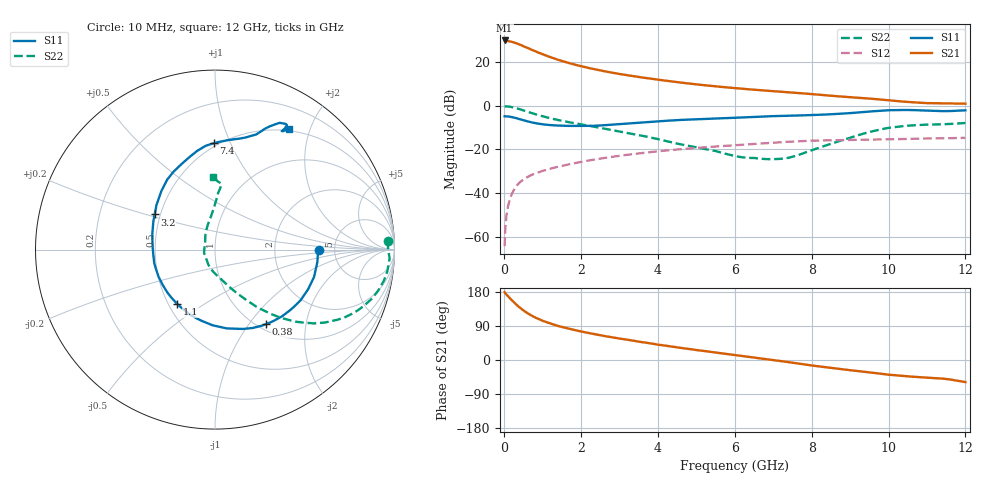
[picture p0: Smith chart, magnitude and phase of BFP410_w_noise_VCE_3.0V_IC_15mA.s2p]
! Infineon Technologies  Discrete & RF Semiconductors
! BFP410
! VCE =  3.0 V,  IC =  15 mA
! Common Emitter S-Parameters:  Nov 2015
# GHz  S  MA  R  50
!  f  S11  S21  S12  S22
! GHz  MAG  ANG  MAG  ANG  MAG  ANG  MAG  ANG
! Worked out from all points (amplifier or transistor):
!   243 points, 10 MHz to 12 GHz, reference 50 ohm
!   highest |S21| = 30.0 dB at 10 MHz (marker M1)
!   |S21| within 3 dB of that: start of sweep to 548.4 MHz
!   unconditionally stable (mu >= 1): 2.091 GHz to end of sweep
!   at 240 MHz: K = 0.22, MSG = 34.1 dB, |S12| = -38.9 dB
!   at 1.84 GHz: K = 0.94, MSG = 22.6 dB, |S12| = -26.3 dB
!   at 12 GHz: K = 1.03, MAG = 6.8 dB, |S12| = -14.7 dB
!   lowest NFmin = 1.50 dB at 900 MHz
!   S11 on the Smith chart (normalised r, x): 10 MHz: 3.73, +0.00; 380 MHz: 1.09, -1.21; 1.1 GHz: 0.55, -0.39; 3.2 GHz: 0.47, +0.21; 7.4 GHz: 0.47, +0.87; 12 GHz: 0.47, +1.69
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0.01  0.5769 0.0  31.77 179.0  0.0006 133.6  0.9634 3.0
0.02  0.574 -2.1  31.55 177.0  0.0011 82.1  0.9649 -0.1
0.05  0.5745 -7.0  31.13 173.5  0.0026 80.2  0.9742 -2.8
0.1  0.5725 -15.5  30.84 168.3  0.005 82.1  0.9689 -6.9
0.195  0.5548 -29.8  29.57 157.9  0.0094 77.8  0.9399 -13.6
0.3  0.5267 -45.0  27.67 147.4  0.0137 72.8  0.892 -20.1
0.38  0.503 -55.6  26.01 140.3  0.0166 69.4  0.8502 -24.4
0.5  0.4689 -70.5  23.5 130.7  0.0205 65.5  0.7864 -29.8
0.6  0.444 -81.5  21.49 123.7  0.0232 63.0  0.7359 -33.5
0.7  0.4217 -91.9  19.68 117.8  0.0257 61.1  0.6896 -36.6
0.9  0.3901 -109.8  16.59 107.7  0.0301 58.6  0.6106 -41.3
1.1  0.3687 -125.0  14.14 99.6  0.0341 57.1  0.5464 -44.9
1.48  0.3504 -147.9  10.87 87.7  0.0415 55.2  0.4572 -50.0
2.02  0.3452 -172.3  8.061 74.9  0.0521 52.7  0.3733 -55.2
2.6  0.3595 166.4  6.248 63.4  0.0635 49.0  0.2999 -60.6
3.2  0.389 149.8  5.063 53.6  0.0751 45.0  0.24 -66.7
4.1  0.4479 130.7  3.888 39.3  0.0924 38.2  0.1646 -79.2
6.1  0.5379 104.7  2.511 11.8  0.1264 21.8  0.0679 -139.4
7.4  0.5927 90.8  2.053 -5.7  0.1499 10.1  0.0643 150.4
8.2  0.624 80.1  1.801 -17.0  0.16 1.2  0.11 117.1
10.2  0.7981 61.8  1.295 -40.5  0.1716 -14.9  0.3285 86.0
12  0.7903 58.4  1.123 -58.4  0.1845 -30.4  0.4035 91.2
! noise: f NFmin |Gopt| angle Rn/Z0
0.45  1.52  0.06  -134  0.19
0.9  1.5  0.07  -151  0.16
1.8  1.61  0.12  -142  0.16
2.4  1.64  0.18  -123  0.21
5.5  2.49  0.39  -106  0.35
10  3.6  0.69  -47  2.16
